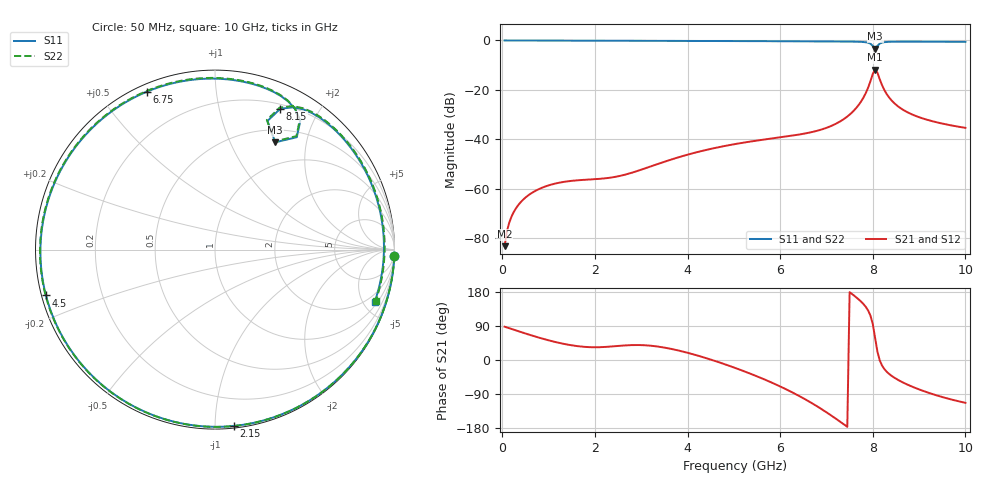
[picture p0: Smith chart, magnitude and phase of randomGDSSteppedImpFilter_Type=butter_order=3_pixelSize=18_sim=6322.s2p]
! freq	dB(S11)	phase(S11)	dB(S12)	phase(S12)
!  dB(S21)	phase(S21)	dB(S22)	phase(S22)
!S-par simulation data
#  GHz  S  DB  R 50
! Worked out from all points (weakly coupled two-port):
!   200 points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, 50 MHz to 10 GHz, reference 50 ohm
!   highest |S21| = -11.74 dB at 8.05 GHz (marker M1); lowest = -83.1 dB at 50 MHz (marker M2)
!   lowest |S11| = -3.3 dB at 8.05 GHz (marker M3), VSWR 5.36, Z = 33.2 + j74.9 ohm
!   |S11| at or under -10 dB: nowhere
!   |S22| runs from -3.2 to 0.0 dB; largest |S21 - S12| = 0
!   S11 on the Smith chart (normalised r, x): 50 MHz: 0, -56; 2.15 GHz: 0.01, -1.11; 4.5 GHz: 0.01, -0.13; 6.75 GHz: 0.03, +0.66; 8.15 GHz: 0.25, +1.54; 10 GHz: 1.29, -6.03
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0.05  -0.00 -2.1  -83.10 87.9  -83.10 87.9  -0.00 -2.1
0.25  -0.01 -10.2  -69.21 79.8  -69.21 79.8  -0.01 -10.2
0.55  -0.03 -22.3  -62.72 68.0  -62.72 68.0  -0.03 -22.3
1.05  -0.05 -42.2  -58.26 50.4  -58.26 50.4  -0.05 -42.1
1.75  -0.09 -69.0  -56.32 35.0  -56.32 35.0  -0.08 -69.0
2.15  -0.10 -83.8  -55.82 34.0  -55.82 34.0  -0.10 -83.7
3.4  -0.16 -127.6  -49.63 34.7  -49.63 34.7  -0.15 -127.5
4.5  -0.21 -164.8  -43.81 1.2  -43.81 1.2  -0.20 -164.6
5.05  -0.25 176.3  -41.78 -21.9  -41.78 -21.9  -0.23 176.6
5.85  -0.30 147.8  -39.52 -61.4  -39.52 -61.4  -0.27 148.1
6.7  -0.37 115.3  -36.94 -115.0  -36.94 -115.0  -0.33 115.6
6.75  -0.37 113.3  -36.72 -118.7  -36.72 -118.7  -0.34 113.6
7.25  -0.42 92.5  -33.20 -158.8  -33.20 -158.8  -0.38 92.9
7.6  -0.48 76.9  -28.17 169.6  -28.17 169.6  -0.44 77.2
7.8  -0.63 66.6  -23.04 147.5  -23.04 147.5  -0.59 67.0
7.95  -1.30 56.5  -16.43 117.1  -16.43 117.1  -1.26 56.9
8.05  -3.28 60.7  -11.74 59.1  -11.74 59.1  -3.24 61.1
8.15  -1.26 65.1  -15.64 -0.9  -15.64 -0.9  -1.22 65.5
8.35  -0.55 51.7  -22.96 -36.4  -22.96 -36.4  -0.51 52.1
8.65  -0.48 37.1  -27.96 -59.3  -27.96 -59.3  -0.44 37.5
9.15  -0.50 15.5  -31.91 -84.2  -31.91 -84.2  -0.46 15.9
10  -0.57 -18.0  -35.30 -113.0  -35.30 -113.0  -0.54 -17.7
